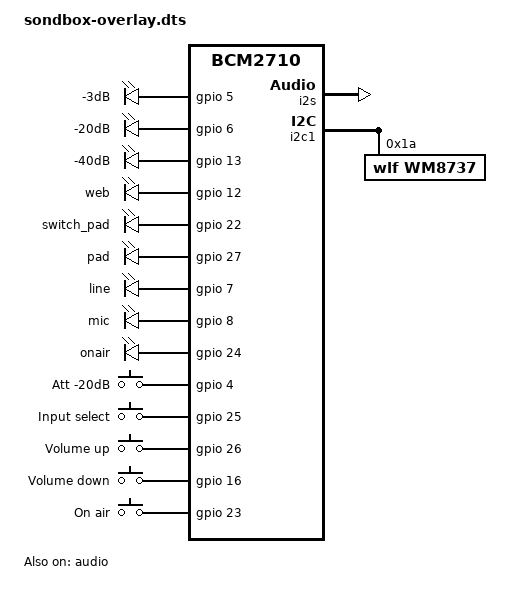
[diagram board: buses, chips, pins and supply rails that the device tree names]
// Sondox device tree specific
/dts-v1/;
/plugin/;

/ {
	compatible = "brcm,bcm2708","brcm,bcm2709","brcm,bcm2710";
	fragment@0 {
		target = <&leds>;
		__overlay__ {
			3db {
				label = "-3dB";
				gpios = <&gpio 5 0>;
			};

			20db {
				label = "-20dB";
				gpios = <&gpio 6 0>;
			};

			40db {
				label = "-40dB";
				gpios = <&gpio 13 0>;
			};

			web {
				label = "web";
				gpios = <&gpio 12 0>;
			};

			switch_pad {
				label = "switch_pad";
				gpios = <&gpio 22 0>;
			};

			pad {
				label = "pad";
				gpios = <&gpio 27 0>;
			};

			line {
				label = "line";
				gpios = <&gpio 7 0>;
			};

			mic {
				label = "mic";
				gpios = <&gpio 8 0>;
			};

			onair {
				label = "onair";
				gpios = <&gpio 24 0>;
			};
		};
	};

	fragment@1 {
		target-path = "/soc";
		__overlay__ {
			keypad {
				compatible = "gpio-keys";
				#address-cells = <1>;
				#size-cells = <1>;
				pinctrl-names = "default";
				pinctrl-0 = <&keypad_pins>;
				
				att_20db {
					label = "Att -20dB";
					linux,code = <30>;
					gpios = <&gpio 4 0>;
				};

				input {
					label = "Input select";
					linux,code = <23>;
					gpios = <&gpio 25 0>;
				};

				vol_up {
					label = "Volume up";
					linux,code = <25>;
					gpios = <&gpio 26 0>;
				};

				vol_dwn {
					label = "Volume down";
					linux,code = <50>;
					gpios = <&gpio 16 0>;
				};

				onair {
					label = "On air";
					linux,code = <24>;
					gpios = <&gpio 23 0>;
				};
			};
		};
	};

	fragment@2 {
		target = <&gpio>;
		__overlay__ {
			keypad_pins: keypad_pins {
				brcm,pins = <4 25 26 16 23>;
				brcm,pull = <1 0 0 0 0>;
				brcm,function = <0>;
			};

			leds_pins: leds_pins {
				brcm,pins = <5 6 13 12 22 27 7 8 24>;
				brcm,pull = <0>;
				brcm,function = <1>;
			};
		};
	};

	fragment@3 {
		target = <&i2s>;
		__overlay__ {
			status = "okay";
		};
	};

	fragment@4 {
		target = <&sound>;
		__overlay__ {
			compatible = "lesondier,sondbox-adc";
			i2s-controller = <&i2s>;
			sound-dai = <&wm8737>;
			status = "okay";
		};
	};

	fragment@5 {
		target = <&i2c1>;
		__overlay__ {
			#address-cells = <1>;
			#size-cells = <0>;
			status = "okay";

			wm8737: wm8737@1A {
				#sound-dai-cells = <0>;
				compatible = "wlf,wm8737";
				reg = <0x1A>;
				status = "okay";
			};
		};
	};

	fragment@6 {
		target = <&audio>;
		__overlay__ {
			status = "okay";
		};
	};
};
